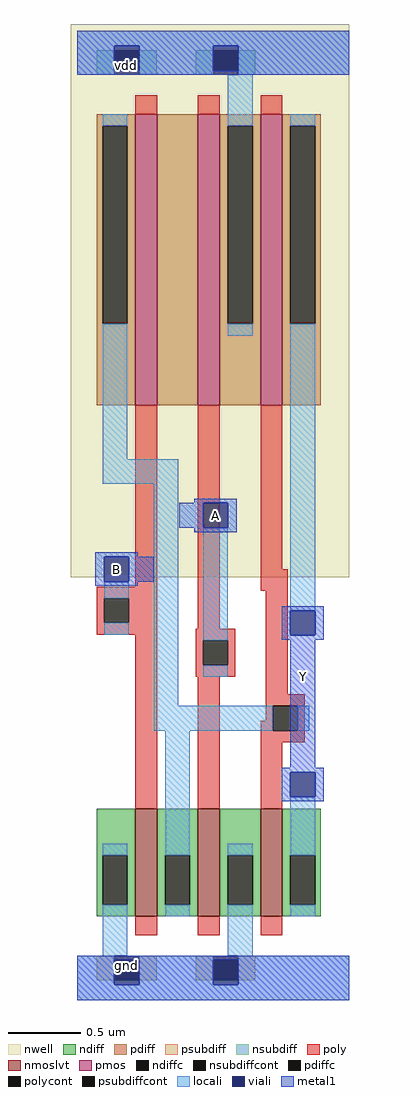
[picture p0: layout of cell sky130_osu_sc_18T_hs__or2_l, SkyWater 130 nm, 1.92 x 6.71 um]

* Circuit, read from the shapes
.subckt sky130_osu_sc_18T_hs__or2_l Y B A
XM1 n1 B gnd gnd sky130_fd_pr__nfet_01v8_lvt w=0.74 l=0.15
XM2 gnd A n1 gnd sky130_fd_pr__nfet_01v8_lvt w=0.74 l=0.15
XM3 Y n1 gnd gnd sky130_fd_pr__nfet_01v8_lvt w=0.74 l=0.15
XM4 n2 B n1 vdd sky130_fd_pr__pfet_01v8 w=2 l=0.15
XM5 vdd A n2 vdd sky130_fd_pr__pfet_01v8 w=2 l=0.15
XM6 Y n1 vdd vdd sky130_fd_pr__pfet_01v8 w=2 l=0.15
.ends

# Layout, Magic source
magic
tech sky130A
magscale 1 2
<< nwell >>
rect -9 581 374 1341
<< pmos >>
rect 80 817 110 1217
rect 166 817 196 1217
rect 252 817 282 1217
<< nmoslvt >>
rect 80 115 110 263
rect 166 115 196 263
rect 252 115 282 263
<< ndiff >>
rect 27 199 80 263
rect 27 131 35 199
rect 69 131 80 199
rect 27 115 80 131
rect 110 199 166 263
rect 110 131 121 199
rect 155 131 166 199
rect 110 115 166 131
rect 196 199 252 263
rect 196 131 207 199
rect 241 131 252 199
rect 196 115 252 131
rect 282 199 335 263
rect 282 131 293 199
rect 327 131 335 199
rect 282 115 335 131
<< pdiff >>
rect 27 1201 80 1217
rect 27 929 35 1201
rect 69 929 80 1201
rect 27 817 80 929
rect 110 817 166 1217
rect 196 1201 252 1217
rect 196 929 207 1201
rect 241 929 252 1201
rect 196 817 252 929
rect 282 1201 335 1217
rect 282 929 293 1201
rect 327 929 335 1201
rect 282 817 335 929
<< ndiffc >>
rect 35 131 69 199
rect 121 131 155 199
rect 207 131 241 199
rect 293 131 327 199
<< pdiffc >>
rect 35 929 69 1201
rect 207 929 241 1201
rect 293 929 327 1201
<< psubdiff >>
rect 27 27 51 61
rect 85 27 109 61
rect 163 27 187 61
rect 221 27 245 61
<< nsubdiff >>
rect 27 1271 51 1305
rect 85 1271 109 1305
rect 163 1271 187 1305
rect 221 1271 245 1305
<< psubdiffcont >>
rect 51 27 85 61
rect 187 27 221 61
<< nsubdiffcont >>
rect 51 1271 85 1305
rect 187 1271 221 1305
<< poly >>
rect 80 1217 110 1243
rect 166 1217 196 1243
rect 252 1217 282 1243
rect 80 568 110 817
rect 27 552 110 568
rect 27 518 37 552
rect 71 518 110 552
rect 27 502 110 518
rect 166 510 196 817
rect 252 592 282 817
rect 252 562 289 592
rect 80 263 110 502
rect 163 494 217 510
rect 163 460 173 494
rect 207 460 217 494
rect 163 444 217 460
rect 166 263 196 444
rect 259 420 289 562
rect 259 404 313 420
rect 259 384 269 404
rect 252 370 269 384
rect 303 370 313 404
rect 252 354 313 370
rect 252 263 282 354
rect 80 89 110 115
rect 166 89 196 115
rect 252 89 282 115
<< polycont >>
rect 37 518 71 552
rect 173 460 207 494
rect 269 370 303 404
<< locali >>
rect 0 1311 374 1332
rect 0 1271 51 1311
rect 85 1271 187 1311
rect 221 1271 374 1311
rect 35 1201 69 1217
rect 35 743 69 929
rect 207 1201 241 1271
rect 207 913 241 929
rect 293 1201 327 1217
rect 35 709 139 743
rect 37 552 71 575
rect 37 502 71 518
rect 105 404 139 709
rect 173 494 207 649
rect 293 535 327 929
rect 173 444 207 460
rect 105 370 269 404
rect 303 370 319 404
rect 35 199 69 215
rect 35 61 69 131
rect 121 199 155 370
rect 121 115 155 131
rect 207 199 241 215
rect 207 61 241 131
rect 293 199 327 279
rect 293 115 327 131
rect 0 21 51 61
rect 85 21 187 61
rect 221 21 374 61
rect 0 0 374 21
<< viali >>
rect 51 1305 85 1311
rect 51 1277 85 1305
rect 187 1305 221 1311
rect 187 1277 221 1305
rect 37 575 71 609
rect 173 649 207 683
rect 293 501 327 535
rect 293 279 327 313
rect 51 27 85 55
rect 51 21 85 27
rect 187 27 221 55
rect 187 21 221 27
<< metal1 >>
rect 0 1311 374 1332
rect 0 1277 51 1311
rect 85 1277 187 1311
rect 221 1277 374 1311
rect 0 1271 374 1277
rect 161 683 219 689
rect 140 649 173 683
rect 207 649 219 683
rect 161 643 219 649
rect 25 609 83 615
rect 25 575 37 609
rect 71 575 105 609
rect 25 569 83 575
rect 281 535 339 541
rect 281 501 293 535
rect 327 501 339 535
rect 281 495 339 501
rect 293 319 327 495
rect 281 313 339 319
rect 281 279 293 313
rect 327 279 339 313
rect 281 273 339 279
rect 0 55 374 61
rect 0 21 51 55
rect 85 21 187 55
rect 221 21 374 55
rect 0 0 374 21
<< labels >>
rlabel metal1 311 444 311 444 1 Y
port 1 n
rlabel metal1 54 592 54 592 1 B
port 2 n
rlabel metal1 190 666 190 666 1 A
port 3 n
rlabel viali 68 48 68 48 1 gnd
rlabel viali 68 1284 68 1284 1 vdd
<< end >>
